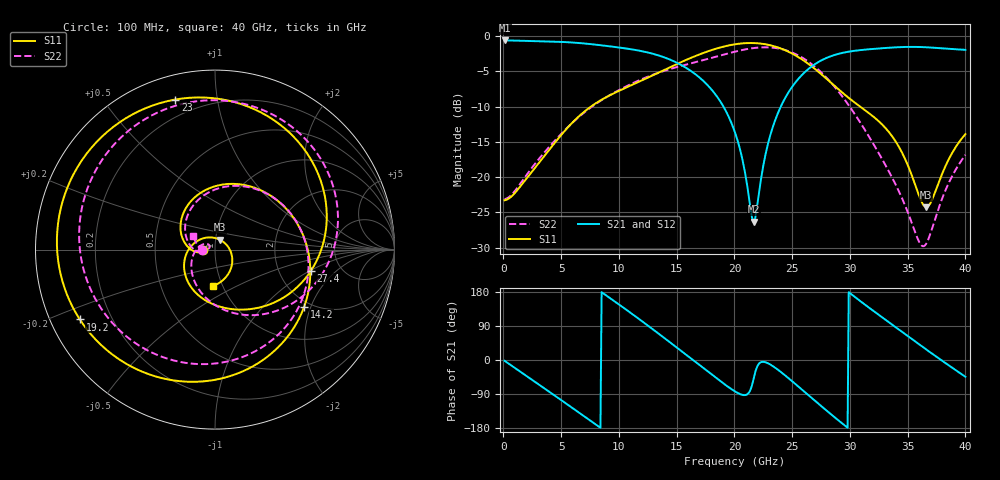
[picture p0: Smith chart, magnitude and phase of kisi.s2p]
! B_s8_L1L3_stub_d300: L1→L3, through via (stub to L8), drill Ø0.3
! stackup: 8-layer 1.6 mm FR-4 (generic)
! ports: 1, 2
! kisi-fdtd, conformal, dfine 0.0175 mm (the cell at metal ÷ 2), 1314180 cells
# Hz S RI R 50
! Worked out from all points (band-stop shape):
!   400 points, 100 MHz to 40 GHz, reference 50 ohm
!   highest |S21| = -0.62 dB at 100 MHz (marker M1); lowest = -26.3 dB at 21.7 GHz (marker M2)
!   |S21| within 3 dB of the highest: start of sweep to 14.81 GHz; 27.33 GHz to end of sweep
!   lowest |S11| = -24.3 dB at 36.6 GHz (marker M3), VSWR 1.13, Z = 52.3 + j5.82 ohm
!   |S11| at or under -10 dB: start of sweep to 7.574 GHz; 30.88 GHz to end of sweep
!   |S22| runs from -29.8 to -1.6 dB; largest |S21 - S12| = 1.3e-06
!   S11 on the Smith chart (normalised r, x): 100 MHz: 0.87, -0.00; 14.2 GHz: 1.83, -1.80; 19.2 GHz: 0.09, -0.24; 23 GHz: 0.12, +0.76; 27.4 GHz: 3.04, -1.02; 40 GHz: 0.91, -0.38
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1e8  -0.0685 -0.00138  0.9306 -0.0346  0.9306 -0.0346  -0.0698 -0.00121
3.6e9  -0.1432 0.0081  0.2215 -0.8898  0.2215 -0.8898  -0.147 0.0369
5.1e9  -0.1867 0.0805  -0.2795 -0.8648  -0.2795 -0.8648  -0.1667 0.122
6.8e9  -0.1629 0.2303  -0.7239 -0.5171  -0.7239 -0.5171  -0.1151 0.2539
9.6e9  0.1601 0.3605  -0.7614 0.3506  -0.7614 0.3506  0.1954 0.3463
1.16e10  0.4295 0.1882  -0.2882 0.7384  -0.2882 0.7384  0.4545 0.1539
1.34e10  0.5307 -0.1425  0.2457 0.6881  0.2457 0.6881  0.5057 -0.2135
1.42e10  0.4965 -0.319  0.4288 0.5443  0.4288 0.5443  0.4243 -0.3903
1.67e10  -0.00659 -0.7266  0.5264 -0.0651  0.5264 -0.0651  -0.1978 -0.625
1.92e10  -0.753 -0.3893  0.1256 -0.273  0.1256 -0.273  -0.7401 -0.0778
2.01e10  -0.8743 -0.0584  0.0216 -0.2003  0.0216 -0.2003  -0.7407 0.2365
2.17e10  -0.6905 0.5651  0.0342 -0.0339  0.0342 -0.0339  -0.4177 0.7095
2.3e10  -0.2212 0.8361  0.1816 -0.0324  0.1816 -0.0324  0.0469 0.8302
2.5e10  0.487 0.5723  0.2438 -0.3627  0.2438 -0.3627  0.6235 0.4423
2.67e10  0.607 0.0511  -0.1103 -0.5999  -0.1103 -0.5999  0.6267 -0.0836
2.74e10  0.5345 -0.1179  -0.3182 -0.5827  -0.3182 -0.5827  0.5119 -0.2387
3.02e10  0.1037 -0.3327  -0.7743 0.1124  -0.7743 0.1124  -0.017 -0.297
3.34e10  -0.1704 -0.1184  -0.1295 0.8169  -0.1295 0.8169  -0.1085 -0.00603
3.49e10  -0.1245 0.028  0.346 0.7631  0.346 0.7631  -0.0501 0.032
3.66e10  0.0261 0.0553  0.7359 0.3913  0.7359 0.3913  -0.0326 0.00826
3.82e10  0.0963 -0.0646  0.8112 -0.0922  0.8112 -0.0922  -0.0774 0.00974
4e10  -0.0086 -0.2016  0.5714 -0.5587  0.5714 -0.5587  -0.1215 0.0772
